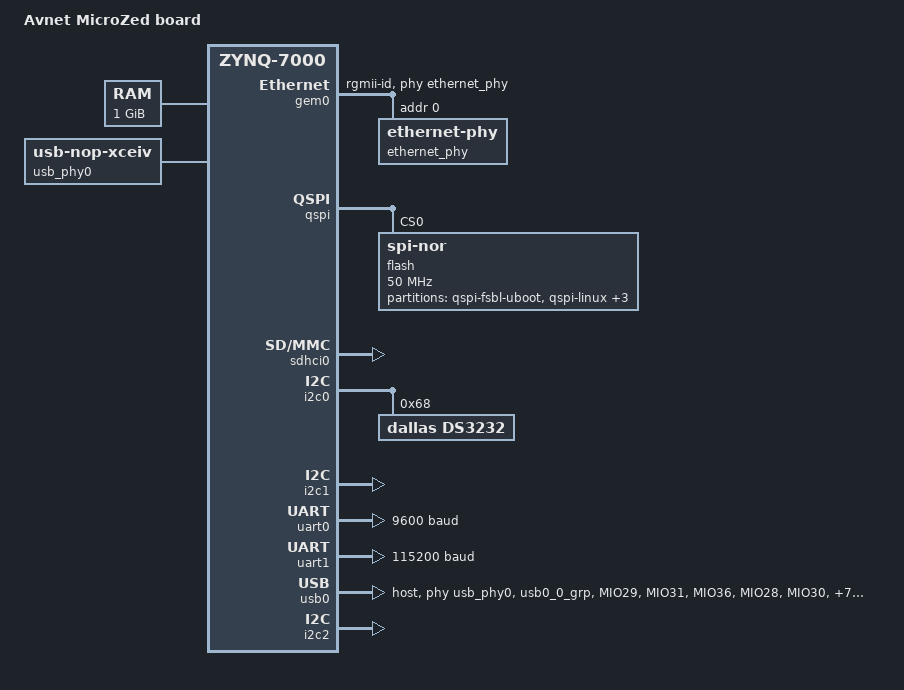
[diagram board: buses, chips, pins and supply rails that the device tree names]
// SPDX-License-Identifier: GPL-2.0
/*
 * Copyright (C) 2011 - 2014 Xilinx
 * Copyright (C) 2016 Jagan Teki <jteki@openedev.com>
 */
/dts-v1/;
/include/ "zynq-7000.dtsi"

/ {
	model = "Avnet MicroZed board";
	compatible = "avnet,zynq-microzed", "xlnx,zynq-microzed", "xlnx,zynq-7000";

	aliases {
		ethernet0 = &gem0;
		serial0 = &uart1;
		serial1 = &uart0;
		i2c0 = &i2c0;
		i2c1 = &i2c1;
		i2c2 = &i2c2;
	};

	memory@0 {
		device_type = "memory";
		reg = <0x0 0x40000000>;
	};

	chosen {
		bootargs = "earlycon";
		stdout-path = "serial0:115200n8";
	};

	usb_phy0: phy0 {
		compatible = "usb-nop-xceiv";
		#phy-cells = <0>;
	};
};

&clkc {
	fclk-enable = <0x1>; /* Enable FPGA0_CLK */
	ps-clk-frequency = <33333333>;
};

&gem0 {
	status = "okay";
	phy-mode = "rgmii-id";
	phy-handle = <&ethernet_phy>;

	ethernet_phy: ethernet-phy@0 {
		reg = <0>;
	};
};

&qspi {
	is-dual = <0>;
	num-cs = <1>;
	status = "okay";
	flash@0 {
		compatible = "jedec,spi-nor";
		reg = <0x0>;
		spi-max-frequency = <50000000>;
		#address-cells = <1>;
		#size-cells = <1>;
		partition@qspi-fsbl-uboot {
			label = "qspi-fsbl-uboot";
			reg = <0x0 0x100000>;
		};
		partition@qspi-linux {
			label = "qspi-linux";
			reg = <0x100000 0x500000>;
		};
		partition@qspi-device-tree {
			label = "qspi-device-tree";
			reg = <0x600000 0x20000>;
		};
		partition@qspi-rootfs {
			label = "qspi-rootfs";
			reg = <0x620000 0x5E0000>;
		};
		partition@qspi-bitstream {
			label = "qspi-bitstream";
			reg = <0xC00000 0x400000>;
		};
	};
};

&sdhci0 {
	status = "okay";
};

&i2c0 {
	status = "okay";

	ds3232: rtc@68 {
		compatible = "dallas,ds3232";
		interrupt-parent = <&intc>;
		interrupts = <0 31 4 >;
		reg = <0x68>;
	};
};

&i2c1 {
	status = "okay";
};

&uart0 {
	status = "okay";
	current-speed = <9600>;
};

&uart1 {
	status = "okay";
	current-speed = <115200>;
};

&usb0 {
	status = "okay";
	dr_mode = "host";
	usb-phy = <&usb_phy0>;
	pinctrl-names = "default";
	pinctrl-0 = <&pinctrl_usb0_default>;
};

&pinctrl0 {
	pinctrl_usb0_default: usb0-default {
		mux {
			groups = "usb0_0_grp";
			function = "usb0";
		};

		conf {
			groups = "usb0_0_grp";
			slew-rate = <0>;
			io-standard = <1>;
		};

		conf-rx {
			pins = "MIO29", "MIO31", "MIO36";
			bias-high-impedance;
		};

		conf-tx {
			pins = "MIO28", "MIO30", "MIO32", "MIO33", "MIO34",
			       "MIO35", "MIO37", "MIO38", "MIO39";
			bias-disable;
		};
	};
};

&amba {
	i2c2: i2c@41600000 {
		compatible = "xlnx,xps-iic-2.00.a";
		interrupt-parent = <&intc>;
		clocks = <&clkc 15>;
		interrupts = <0 29 4 >;
		reg = < 0x41600000 0x10000 >;
		#size-cells = <0>;
		#address-cells = <1>;
	};

	pps0: pps@80600000 {
		compatible = "fpga,ocxo-pps-0.90";
		interrupt-parent = <&intc>;
		interrupts = <0 32 4 >;
		reg = < 0x80600000 0x2000 >;
		#size-cells = <0>;
		#address-cells = <1>;
	};
};
